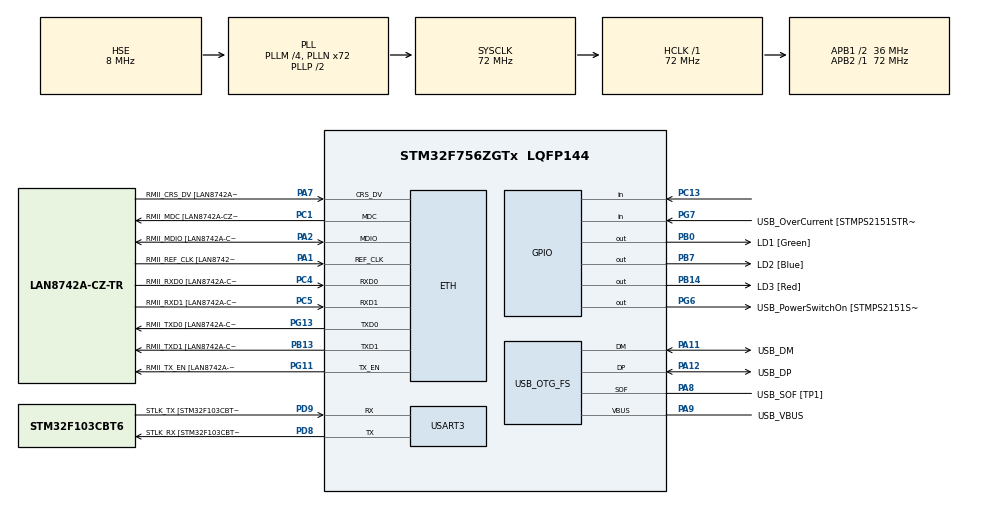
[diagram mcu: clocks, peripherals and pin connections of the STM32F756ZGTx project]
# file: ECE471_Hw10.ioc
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ADC1.Channel-0\#ChannelRegularConversion=ADC_CHANNEL_TEMPSENSOR
ADC1.NbrOfConversion=1
ADC1.NbrOfConversionFlag=1
ADC1.Rank-0\#ChannelRegularConversion=1
ADC1.SamplingTime-0\#ChannelRegularConversion=ADC_SAMPLETIME_480CYCLES
ADC1.master=1
ETH.MACAddr=00\:80\:E1\:00\:22\:23
ETH.MediaInterface=HAL_ETH_RMII_MODE
ETH.PHY_Name=LAN8742A_PHY_ADDRESS
ETH.PHY_Value=0
ETH.PhyAddress=0
FREERTOS.Tasks01=defaultTask,0,2048,StartDefaultTask,Default,NULL,Dynamic,NULL,NULL
LWIP.BSP.number=1
LWIP.Version=v2.1.2_Cube
LWIP0.BSP.STBoard=false
LWIP0.BSP.api=BSP_COMPONENT_DRIVER
LWIP0.BSP.component=LAN8742
LWIP0.BSP.instance=LAN8742
LWIP0.BSP.name=Driver_PHY
LWIP0.BSP.semaphore=S_LAN8742
LWIP0.BSP.solution=LAN8742
Mcu.Family=STM32F7
Mcu.Name=STM32F756ZGTx
Mcu.Package=LQFP144
NVIC.ETH_IRQn=true\:5\:0\:false\:false\:true\:true\:false\:true\:true
NVIC.PriorityGroup=NVIC_PRIORITYGROUP_4
NVIC.TIM2_IRQn=true\:15\:0\:false\:false\:true\:false\:false\:true\:true
NVIC.TimeBase=TIM2_IRQn
NVIC.TimeBaseIP=TIM2
PA1.GPIO_Label=RMII_REF_CLK [LAN8742A-CZ-TR_REFCLK0]
PA1.Mode=RMII
PA1.Signal=ETH_REF_CLK
PA10.GPIO_Label=USB_ID
PA10.Signal=USB_OTG_FS_ID
PA11.GPIO_Label=USB_DM
PA11.Mode=Device_Only
PA11.Signal=USB_OTG_FS_DM
PA12.GPIO_Label=USB_DP
PA12.Mode=Device_Only
PA12.Signal=USB_OTG_FS_DP
PA13.GPIO_Label=TMS
PA13.Mode=Serial_Wire
PA13.Signal=SYS_JTMS-SWDIO
PA14.GPIO_Label=TCK
PA14.Mode=Serial_Wire
PA14.Signal=SYS_JTCK-SWCLK
PA2.GPIO_Label=RMII_MDIO [LAN8742A-CZ-TR_MDIO]
PA2.Mode=RMII
PA2.Signal=ETH_MDIO
PA7.GPIO_Label=RMII_CRS_DV [LAN8742A-CZ-TR_CRS_DV]
PA7.Mode=RMII
PA7.Signal=ETH_CRS_DV
PA8.GPIO_Label=USB_SOF [TP1]
PA8.Mode=Activate_SOF_FS
PA8.Signal=USB_OTG_FS_SOF
PA9.GPIO_Label=USB_VBUS
PA9.Mode=Activate_VBUS
PA9.Signal=USB_OTG_FS_VBUS
PB0.GPIO_Label=LD1 [Green]
PB0.Signal=GPIO_Output
PB13.GPIO_Label=RMII_TXD1 [LAN8742A-CZ-TR_TXD1]
PB13.Mode=RMII
PB13.Signal=ETH_TXD1
PB14.GPIO_Label=LD3 [Red]
PB14.Signal=GPIO_Output
PB3.GPIO_Label=SW0
PB3.Signal=SYS_JTDO-SWO
PB7.GPIO_Label=LD2 [Blue]
PB7.Signal=GPIO_Output
PC1.GPIO_Label=RMII_MDC [LAN8742A-CZ-TR_MDC]
PC1.Mode=RMII
PC1.Signal=ETH_MDC
PC13.Signal=GPIO_Input
PC14/OSC32_IN.Mode=LSE-External-Oscillator
PC14/OSC32_IN.Signal=RCC_OSC32_IN
PC15/OSC32_OUT.Mode=LSE-External-Oscillator
PC15/OSC32_OUT.Signal=RCC_OSC32_OUT
PC4.GPIO_Label=RMII_RXD0 [LAN8742A-CZ-TR_RXD0]
PC4.Mode=RMII
PC4.Signal=ETH_RXD0
PC5.GPIO_Label=RMII_RXD1 [LAN8742A-CZ-TR_RXD1]
PC5.Mode=RMII
PC5.Signal=ETH_RXD1
PD8.GPIO_Label=STLK_RX [STM32F103CBT6_PA3]
PD8.Mode=Asynchronous
PD8.Signal=USART3_TX
PD9.GPIO_Label=STLK_TX [STM32F103CBT6_PA2]
PD9.Mode=Asynchronous
PD9.Signal=USART3_RX
PG11.GPIO_Label=RMII_TX_EN [LAN8742A-CZ-TR_TXEN]
PG11.Mode=RMII
PG11.Signal=ETH_TX_EN
PG13.GPIO_Label=RMII_TXD0 [LAN8742A-CZ-TR_TXD0]
PG13.Mode=RMII
PG13.Signal=ETH_TXD0
PG6.GPIO_Label=USB_PowerSwitchOn [STMPS2151STR_EN]
PG6.Signal=GPIO_Output
PG7.GPIO_Label=USB_OverCurrent [STMPS2151STR_FAULT]
PG7.Signal=GPIO_Input
PH0/OSC_IN.GPIO_Label=MCO [STM32F103CBT6_PA8]
PH0/OSC_IN.Mode=HSE-External-Clock-Source
PH0/OSC_IN.Signal=RCC_OSC_IN
PH1/OSC_OUT.Mode=HSE-External-Clock-Source
PH1/OSC_OUT.Signal=RCC_OSC_OUT
ProjectManager.HeapSize=0x200
ProjectManager.StackSize=0x400
ProjectManager.TargetToolchain=STM32CubeIDE
RCC.48MHZClocksFreq_Value=24000000
RCC.AHBFreq_Value=72000000
RCC.APB1CLKDivider=RCC_HCLK_DIV2
RCC.APB1Freq_Value=36000000
RCC.APB1TimFreq_Value=72000000
RCC.APB2Freq_Value=72000000
RCC.APB2TimFreq_Value=72000000
RCC.CortexFreq_Value=72000000
RCC.HCLKFreq_Value=72000000
RCC.HSE_VALUE=8000000
RCC.HSI_VALUE=16000000
RCC.PLLM=4
RCC.PLLMUL=RCC_PLL_MUL9
RCC.PLLN=72
RCC.PLLQ=3
RCC.PRESCALERUSB=RCC_USBCLKSOURCE_PLL_DIV1_5
RCC.SYSCLKFreq_VALUE=72000000
RCC.SYSCLKSource=RCC_SYSCLKSOURCE_PLLCLK
RCC.SYSCLKSourceVirtual=RCC_SYSCLKSOURCE_PLLCLK
RCC.USBFreq_Value=48000000
RCC.VCOOutputFreq_Value=144000000
USART3.VirtualMode-Asynchronous=VM_ASYNC
USB_OTG_FS.VirtualMode=Device_Only
VP_ADC1_TempSens_Input.Mode=IN-TempSens
VP_FREERTOS_VS_CMSIS_V1.Mode=CMSIS_V1
VP_LWIP_VS_Enabled.Mode=Enabled
VP_SYS_VS_tim2.Mode=TIM2
board=NUCLEO-F756ZG

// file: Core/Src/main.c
/* USER CODE BEGIN Header */
/**
  ******************************************************************************
  * @file           : main.c
  * @brief          : Main program body
  ******************************************************************************
  * @attention
  *
  * Copyright (c) 2023 STMicroelectronics.
  * All rights reserved.
  *
  * This software is licensed under terms that can be found in the LICENSE file
  * in the root directory of this software component.
  * If no LICENSE file comes with this software, it is provided AS-IS.
  *
  ******************************************************************************
  */
/* USER CODE END Header */
#include "main.h"
#include "cmsis_os.h"
#include "lwip.h"

/* USER CODE BEGIN Includes */
#include "lwip/apps/mqtt_priv.h"
#include "lwip/apps/mqtt.h"
#include <string.h>
/* USER CODE END Includes */

ADC_HandleTypeDef hadc1;

UART_HandleTypeDef huart3;

PCD_HandleTypeDef hpcd_USB_OTG_FS;

osThreadId defaultTaskHandle;
/* USER CODE BEGIN PV */
mqtt_client_t mqtt_client_state;
/* USER CODE END PV */

void SystemClock_Config(void);
static void MX_GPIO_Init(void);
static void MX_USART3_UART_Init(void);
static void MX_USB_OTG_FS_PCD_Init(void);
static void MX_ADC1_Init(void);
void StartDefaultTask(void const * argument);

/* USER CODE BEGIN PFP */
static uint32_t temp =0;

static char buffer[21];
/* USER CODE END PFP */

/* USER CODE BEGIN 0 */

/*
 * Based on: http://www.nongnu.org/lwip/2_0_x/group__mqtt.html
 * MQTT client for LwIP
 * Author: Erik Andersson
 * Details of the MQTT protocol can be found at:
 * http://docs.oasis-open.org/mqtt/mqtt/v3.1.1/os/mqtt-v3.1.1-os.html
 *
 */

/* The idea is to demultiplex topic and create some reference to be used in data callbacks
   Example here uses a global variable, better would be to use a member in arg
   If RAM and CPU budget allows it, the easiest implementation might be to just take a copy of
   the topic string and use it in mqtt_incoming_data_cb
*/
static void mqtt_incoming_publish_cb(void *arg, const char *topic, u32_t tot_len)
{
  // first this function is called with the topic string
  // in our case the topic can be "test/bradley_edu" or something more specific
  // such as "test/bradley_edu/xxx_something_more_specific_here_xxx"
  // then the function mqtt_incoming_data_cb is called.
}

static void mqtt_incoming_data_cb(void *arg, const u8_t *data, u16_t len, u8_t flags)
{
  if(flags & MQTT_DATA_FLAG_LAST) {

    /* Last fragment of payload received (or whole part if payload fits receive buffer
       See MQTT_VAR_HEADER_BUFFER_LEN)  */

    /* Warning! the incoming data is not \0 terminated !!!
     * If the data is short copy it and terminate with \0
     * then you can use strxxx and atoi, etc. safely
     * OTHERWISE, use strNxxx functions like strncmp, but cannot use atoi function
     */
    if ( len<20 ) {
      //static char buffer[21];
      strncpy(buffer, (const char *)data, len);
      buffer[len]='\0';

     }

    }

 }

static void mqtt_sub_request_cb(void *arg, err_t result)
{
  /* Normal behavior would be to take some action if subscribe fails like
     notifying user, retry subscribe or disconnect from server */
    if (result != ERR_OK ) {
        mqtt_disconnect(arg);
        // the task loop will try to reconnect and subscribe again
    }
}

static void example_do_connect(mqtt_client_t *client);

static void mqtt_connection_cb(mqtt_client_t *client, void *arg, mqtt_connection_status_t status)
{
  err_t err;
  if(status == MQTT_CONNECT_ACCEPTED) {
    /* Setup callback for incoming publish requests */
    mqtt_set_inpub_callback(client, mqtt_incoming_publish_cb, mqtt_incoming_data_cb, arg);

    /* Subscribe to a topic named "subtopic" with QoS level 1, call mqtt_sub_request_cb with result */
    err = mqtt_subscribe(client, "test/bradley_edu", 1, mqtt_sub_request_cb, client); // arg=client for calling disconnect on failure

    if(err != ERR_OK) {
        // ..
        // Note: either an immediate error that something went very wrong or,
        //        otherwise, the error code -4 telling that the actual status
        //        will be reported later when the callback function is called
    }
  } else {
    /* Its more nice to be connected, so try to reconnect */
    example_do_connect(client);
  }
}

static void example_do_connect(mqtt_client_t *client)
{
  struct mqtt_connect_client_info_t ci;
  err_t err;

  /* Setup an empty client info structure */
  memset(&ci, 0, sizeof(ci));

  /* Minimal amount of information required is client identifier, so set it here */
  ci.client_id   = "st32f7-Nate";     // each end note MUST have an unique short client ID!
  ci.client_user = 0;  // = "UserID";   // =0; must point to NULL when not used
  ci.client_pass = 0;  // = "password"; // =0; must point to NULL when not used
  ci.keep_alive  = 0;  // optional, already set to 0

  /* Initiate client and connect to server, if this fails immediately an error code is returned
     otherwise mqtt_connection_cb will be called with connection result after attempting
     to establish a connection with the server.
     For now MQTT version 3.1.1 is always used */

  ip_addr_t mqtt_server_addr;
  // uncomment only one option below:
     // Choice 1: test.mosquitto.org => 91.121.93.94
  //IP4_ADDR( &mqtt_server_addr, 91, 121, 93, 94 );
     // Choice 2: mqtt.eclipseprojects.io => 137.135.83.217
  // IP4_ADDR( &mqtt_server_addr, 137, 135, 83, 217 );
     // Choice 3: a server on a local computer
  //192.168.1.129
  //192.168.1.129
  IP4_ADDR( &mqtt_server_addr, 192, 168, 1, 129);

  err = mqtt_client_connect(client, &mqtt_server_addr, MQTT_PORT, mqtt_connection_cb, 0, &ci);

  /* For now just print the result code if something goes wrong */
  if(err != ERR_OK) {
    // ..
    // Note: either an immediate error that something went very wrong or,
    //        otherwise, the error code -4 telling that the actual status
    //        will be reported later when the callback function is called
  }
}

/* Called when publish is complete either with success or failure */
static void mqtt_pub_request_cb(void *arg, err_t result)
{
  if(result != ERR_OK) {
    // .. the message did not get out
  }
}

void example_publish(mqtt_client_t *client, const char * payload, void *arg)
{
  err_t err;
  u8_t qos = 2; /* 0 1 or 2, see MQTT specification */
  u8_t retain = 0; /* No don't retain such crappy payload... */
  err = mqtt_publish(client, "test/bradley_edu", payload, strlen(payload), qos, retain, mqtt_pub_request_cb, arg);
  if(err != ERR_OK) {
    // ..
    // Note: either an immediate error that something went very wrong or,
    //        otherwise, the error code -4 telling that the actual status
    //        will be reported later when the callback function is called
  }
}

/* USER CODE END 0 */

int main(void)
{

  /* MCU Configuration--------------------------------------------------------*/

  /* Reset of all peripherals, Initializes the Flash interface and the Systick. */
  HAL_Init();

  /* Configure the system clock */
  SystemClock_Config();

  /* Initialize all configured peripherals */
  MX_GPIO_Init();
  MX_USART3_UART_Init();
  MX_USB_OTG_FS_PCD_Init();
  MX_ADC1_Init();

  /* Create the thread(s) */
  /* definition and creation of defaultTask */
  osThreadDef(defaultTask, StartDefaultTask, osPriorityNormal, 0, 2048);
  defaultTaskHandle = osThreadCreate(osThread(defaultTask), NULL);

  /* Start scheduler */
  osKernelStart();
  /* We should never get here as control is now taken by the scheduler */
  /* Infinite loop */
  while (1)
  {

  }
}

void SystemClock_Config(void)
{
  RCC_OscInitTypeDef RCC_OscInitStruct = {0};
  RCC_ClkInitTypeDef RCC_ClkInitStruct = {0};

  /** Configure LSE Drive Capability
  */
  HAL_PWR_EnableBkUpAccess();

  /** Configure the main internal regulator output voltage
  */
  __HAL_RCC_PWR_CLK_ENABLE();
  __HAL_PWR_VOLTAGESCALING_CONFIG(PWR_REGULATOR_VOLTAGE_SCALE3);

  /** Initializes the RCC Oscillators according to the specified parameters
  * in the RCC_OscInitTypeDef structure.
  */
  RCC_OscInitStruct.OscillatorType = RCC_OSCILLATORTYPE_HSE;
  RCC_OscInitStruct.PLL.PLLState = RCC_PLL_ON;
  RCC_OscInitStruct.PLL.PLLSource = RCC_PLLSOURCE_HSE;
  RCC_OscInitStruct.PLL.PLLM = 4;
  RCC_OscInitStruct.PLL.PLLN = 72;
  RCC_OscInitStruct.PLL.PLLP = RCC_PLLP_DIV2;
  RCC_OscInitStruct.PLL.PLLQ = 3;
  if (HAL_RCC_OscConfig(&RCC_OscInitStruct) != HAL_OK)
  {
    Error_Handler();
  }

  /** Initializes the CPU, AHB and APB buses clocks
  */
  RCC_ClkInitStruct.ClockType = RCC_CLOCKTYPE_HCLK|RCC_CLOCKTYPE_SYSCLK
                              |RCC_CLOCKTYPE_PCLK1|RCC_CLOCKTYPE_PCLK2;
  RCC_ClkInitStruct.SYSCLKSource = RCC_SYSCLKSOURCE_PLLCLK;
  RCC_ClkInitStruct.AHBCLKDivider = RCC_SYSCLK_DIV1;
  RCC_ClkInitStruct.APB1CLKDivider = RCC_HCLK_DIV2;
  RCC_ClkInitStruct.APB2CLKDivider = RCC_HCLK_DIV1;

  if (HAL_RCC_ClockConfig(&RCC_ClkInitStruct, FLASH_LATENCY_2) != HAL_OK)
  {
    Error_Handler();
  }
}

static void MX_ADC1_Init(void)
{

  ADC_ChannelConfTypeDef sConfig = {0};

  /** Configure the global features of the ADC (Clock, Resolution, Data Alignment and number of conversion)
  */
  hadc1.Instance = ADC1;
  hadc1.Init.ClockPrescaler = ADC_CLOCK_SYNC_PCLK_DIV2;
  hadc1.Init.Resolution = ADC_RESOLUTION_12B;
  hadc1.Init.ScanConvMode = ADC_SCAN_DISABLE;
  hadc1.Init.ContinuousConvMode = DISABLE;
  hadc1.Init.DiscontinuousConvMode = DISABLE;
  hadc1.Init.ExternalTrigConvEdge = ADC_EXTERNALTRIGCONVEDGE_NONE;
  hadc1.Init.ExternalTrigConv = ADC_SOFTWARE_START;
  hadc1.Init.DataAlign = ADC_DATAALIGN_RIGHT;
  hadc1.Init.NbrOfConversion = 1;
  hadc1.Init.DMAContinuousRequests = DISABLE;
  hadc1.Init.EOCSelection = ADC_EOC_SINGLE_CONV;
  if (HAL_ADC_Init(&hadc1) != HAL_OK)
  {
    Error_Handler();
  }

  /** Configure for the selected ADC regular channel its corresponding rank in the sequencer and its sample time.
  */
  sConfig.Channel = ADC_CHANNEL_TEMPSENSOR;
  sConfig.Rank = ADC_REGULAR_RANK_1;
  sConfig.SamplingTime = ADC_SAMPLETIME_480CYCLES;
  if (HAL_ADC_ConfigChannel(&hadc1, &sConfig) != HAL_OK)
  {
    Error_Handler();
  }

}

static void MX_USART3_UART_Init(void)
{

  huart3.Instance = USART3;
  huart3.Init.BaudRate = 115200;
  huart3.Init.WordLength = UART_WORDLENGTH_8B;
  huart3.Init.StopBits = UART_STOPBITS_1;
  huart3.Init.Parity = UART_PARITY_NONE;
  huart3.Init.Mode = UART_MODE_TX_RX;
  huart3.Init.HwFlowCtl = UART_HWCONTROL_NONE;
  huart3.Init.OverSampling = UART_OVERSAMPLING_16;
  huart3.Init.OneBitSampling = UART_ONE_BIT_SAMPLE_DISABLE;
  huart3.AdvancedInit.AdvFeatureInit = UART_ADVFEATURE_NO_INIT;
  if (HAL_UART_Init(&huart3) != HAL_OK)
  {
    Error_Handler();
  }

}

static void MX_USB_OTG_FS_PCD_Init(void)
{

  hpcd_USB_OTG_FS.Instance = USB_OTG_FS;
  hpcd_USB_OTG_FS.Init.dev_endpoints = 6;
  hpcd_USB_OTG_FS.Init.speed = PCD_SPEED_FULL;
  hpcd_USB_OTG_FS.Init.dma_enable = DISABLE;
  hpcd_USB_OTG_FS.Init.phy_itface = PCD_PHY_EMBEDDED;
  hpcd_USB_OTG_FS.Init.Sof_enable = ENABLE;
  hpcd_USB_OTG_FS.Init.low_power_enable = DISABLE;
  hpcd_USB_OTG_FS.Init.lpm_enable = DISABLE;
  hpcd_USB_OTG_FS.Init.vbus_sensing_enable = ENABLE;
  hpcd_USB_OTG_FS.Init.use_dedicated_ep1 = DISABLE;
  if (HAL_PCD_Init(&hpcd_USB_OTG_FS) != HAL_OK)
  {
    Error_Handler();
  }

}

static void MX_GPIO_Init(void)
{
  GPIO_InitTypeDef GPIO_InitStruct = {0};

  /* GPIO Ports Clock Enable */
  __HAL_RCC_GPIOC_CLK_ENABLE();
  __HAL_RCC_GPIOH_CLK_ENABLE();
  __HAL_RCC_GPIOA_CLK_ENABLE();
  __HAL_RCC_GPIOB_CLK_ENABLE();
  __HAL_RCC_GPIOD_CLK_ENABLE();
  __HAL_RCC_GPIOG_CLK_ENABLE();

  /*Configure GPIO pin Output Level */
  HAL_GPIO_WritePin(GPIOB, LD1_Pin|LD3_Pin|LD2_Pin, GPIO_PIN_RESET);

  /*Configure GPIO pin Output Level */
  HAL_GPIO_WritePin(USB_PowerSwitchOn_GPIO_Port, USB_PowerSwitchOn_Pin, GPIO_PIN_RESET);

  /*Configure GPIO pin : PC13 */
  GPIO_InitStruct.Pin = GPIO_PIN_13;
  GPIO_InitStruct.Mode = GPIO_MODE_INPUT;
  GPIO_InitStruct.Pull = GPIO_NOPULL;
  HAL_GPIO_Init(GPIOC, &GPIO_InitStruct);

  /*Configure GPIO pins : LD1_Pin LD3_Pin LD2_Pin */
  GPIO_InitStruct.Pin = LD1_Pin|LD3_Pin|LD2_Pin;
  GPIO_InitStruct.Mode = GPIO_MODE_OUTPUT_PP;
  GPIO_InitStruct.Pull = GPIO_NOPULL;
  GPIO_InitStruct.Speed = GPIO_SPEED_FREQ_LOW;
  HAL_GPIO_Init(GPIOB, &GPIO_InitStruct);

  /*Configure GPIO pin : USB_PowerSwitchOn_Pin */
  GPIO_InitStruct.Pin = USB_PowerSwitchOn_Pin;
  GPIO_InitStruct.Mode = GPIO_MODE_OUTPUT_PP;
  GPIO_InitStruct.Pull = GPIO_NOPULL;
  GPIO_InitStruct.Speed = GPIO_SPEED_FREQ_LOW;
  HAL_GPIO_Init(USB_PowerSwitchOn_GPIO_Port, &GPIO_InitStruct);

  /*Configure GPIO pin : USB_OverCurrent_Pin */
  GPIO_InitStruct.Pin = USB_OverCurrent_Pin;
  GPIO_InitStruct.Mode = GPIO_MODE_INPUT;
  GPIO_InitStruct.Pull = GPIO_NOPULL;
  HAL_GPIO_Init(USB_OverCurrent_GPIO_Port, &GPIO_InitStruct);

}

void StartDefaultTask(void const * argument)
{
  /* init code for LWIP */
  MX_LWIP_Init();
  /* USER CODE BEGIN 5 */

  /* Infinite loop */
  //GPIO_PinState old = GPIO_PIN_RESET;
  unsigned int mqtt_reconnect_cnt = 0;
  for(;;)
  {
	  HAL_ADC_Start(&hadc1);
	  HAL_ADC_PollForConversion(&hadc1, HAL_MAX_DELAY);
	  uint32_t raw_temp = HAL_ADC_GetValue(&hadc1);
	  uint32_t cht_voltage = (raw_temp * 3300) / 4095;
	  temp = 25 + (cht_voltage * 10 - 7600) / 25;
    // periodically check if MQTT is connected and (re)connect if needed
    if ( ! mqtt_client_is_connected(&mqtt_client_state) ) {
    	HAL_GPIO_WritePin(GPIOB, GPIO_PIN_0, GPIO_PIN_RESET);
      if (mqtt_reconnect_cnt>0) {
        mqtt_reconnect_cnt--;
      }

      else {
        example_do_connect(&mqtt_client_state);
        // Note: this is a non-blocking call as all of the MQTT - will not wait until connected
            // Any delay is not really needed to prevent from starting multiple attempts in parallel
            // because subsequent attempts are ignored as long as the corresponding TCP socket state
            // is not "fully disconnected"
        mqtt_reconnect_cnt = 500; // but... allow five seconds to prevent flood of requests
      }
    }

    else if ( mqtt_client_is_connected(&mqtt_client_state) ){
    	HAL_GPIO_WritePin(GPIOB, GPIO_PIN_0, GPIO_PIN_SET);
    	int count =0;
    	if(strncmp(buffer,"Nate-TSET=", 11) == 0){
    		HAL_GPIO_TogglePin(GPIOB, GPIO_PIN_7);

    		int tempTemp = atoi(buffer +11);
    		if(tempTemp > temp){

    			HAL_GPIO_WritePin(GPIOB, GPIO_PIN_14, GPIO_PIN_SET);
    		}
    		else{
    			HAL_GPIO_WritePin(GPIOB, GPIO_PIN_14, GPIO_PIN_RESET);
    		}
    	}
    	// osDelay(100);
    	 count++;

    	 if(count>=10){

    		 char buff[32];

    		 example_publish(&mqtt_client_state, itoa(temp, buff, 10), 0);
    		 count =0;
    	 }
    	 GPIO_PinState buttonState = HAL_GPIO_ReadPin(GPIOC, GPIO_PIN_13);
    	 if(buttonState){
    		 char buff[32];

    		 example_publish(&mqtt_client_state, itoa(temp, buff, 10), 0);
    		 osDelay(10);
    	 }

    }
    else{

    }

//    GPIO_PinState b = HAL_GPIO_ReadPin(GPIOC, GPIO_PIN_13);
//    if(b){
//        if ( mqtt_client_is_connected(&mqtt_client_state) ) {
//        	static char buffer[32];
//          example_publish(&mqtt_client_state, itoa(temp, buffer, 10), 0);
//          osDelay(10); // to prevent flooding of packets in the TCP/IP stack buffer
//        }
//    }

    //osDelay(10); // or use vTaskDelay( 10 / portTICK_PERIOD_MS );
  }
  /* the line below is listed here only for reference as we are not going to disconnect ever */
  // mqtt_disconnect(&mqtt_client_state);

  /* USER CODE END 5 */
}

void HAL_TIM_PeriodElapsedCallback(TIM_HandleTypeDef *htim)
{
  if (htim->Instance == TIM2) {
    HAL_IncTick();
  }
}

void Error_Handler(void)
{
  __disable_irq();
  while (1)
  {
  }
}
